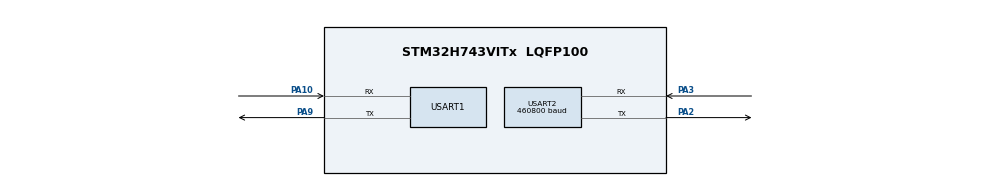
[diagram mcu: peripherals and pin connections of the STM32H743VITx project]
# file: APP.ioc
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CORTEX_M7.CPU_DCache=Enabled
CORTEX_M7.CPU_ICache=Enabled
FREERTOS.Tasks01=defaultTask,24,512,StartDefaultTask,Default,NULL,Dynamic,NULL,NULL
FREERTOS.configCHECK_FOR_STACK_OVERFLOW=2
FREERTOS.configENABLE_FPU=1
FREERTOS.configGENERATE_RUN_TIME_STATS=1
FREERTOS.configTOTAL_HEAP_SIZE=131072
FREERTOS.configUSE_MALLOC_FAILED_HOOK=1
Mcu.Family=STM32H7
Mcu.Name=STM32H743VITx
Mcu.Package=LQFP100
NVIC.PriorityGroup=NVIC_PRIORITYGROUP_4
NVIC.TIM8_UP_TIM13_IRQn=true\:0\:0\:false\:false\:true\:false\:false\:true\:true
NVIC.TimeBase=TIM8_UP_TIM13_IRQn
NVIC.TimeBaseIP=TIM8
PA10.Mode=Asynchronous
PA10.Signal=USART1_RX
PA13\ (JTMS/SWDIO).Mode=Serial_Wire
PA13\ (JTMS/SWDIO).Signal=DEBUG_JTMS-SWDIO
PA14\ (JTCK/SWCLK).Mode=Serial_Wire
PA14\ (JTCK/SWCLK).Signal=DEBUG_JTCK-SWCLK
PA2.Mode=Asynchronous
PA2.Signal=USART2_TX
PA3.Mode=Asynchronous
PA3.Signal=USART2_RX
PA9.Mode=Asynchronous
PA9.Signal=USART1_TX
PC14-OSC32_IN\ (OSC32_IN).Mode=LSE-External-Oscillator
PC14-OSC32_IN\ (OSC32_IN).Signal=RCC_OSC32_IN
PC15-OSC32_OUT\ (OSC32_OUT).Mode=LSE-External-Oscillator
PC15-OSC32_OUT\ (OSC32_OUT).Signal=RCC_OSC32_OUT
PH0-OSC_IN\ (PH0).Mode=HSE-External-Oscillator
PH0-OSC_IN\ (PH0).Signal=RCC_OSC_IN
PH1-OSC_OUT\ (PH1).Mode=HSE-External-Oscillator
PH1-OSC_OUT\ (PH1).Signal=RCC_OSC_OUT
ProjectManager.HeapSize=0x200
ProjectManager.StackSize=0x400
ProjectManager.TargetToolchain=MDK-ARM V5.27
RCC.ADCFreq_Value=50390625
RCC.APB1Freq_Value=100000000
RCC.APB2Freq_Value=100000000
RCC.APB3Freq_Value=100000000
RCC.APB4Freq_Value=100000000
RCC.CortexFreq_Value=400000000
RCC.D1PPRE=RCC_APB3_DIV2
RCC.D2PPRE1=RCC_APB1_DIV2
RCC.D2PPRE2=RCC_APB2_DIV2
RCC.D3PPRE=RCC_APB4_DIV2
RCC.DIVM1=2
RCC.DIVN1=64
RCC.HCLKFreq_Value=200000000
RCC.HPRE=RCC_HCLK_DIV2
RCC.PLLSourceVirtual=RCC_PLLSOURCE_HSE
RCC.SYSCLKFreq_VALUE=400000000
RCC.SYSCLKSource=RCC_SYSCLKSOURCE_PLLCLK
RCC.USBFreq_Value=400000000
USART1.VirtualMode-Asynchronous=VM_ASYNC
USART2.BaudRate=460800
USART2.VirtualMode-Asynchronous=VM_ASYNC
VP_FREERTOS_VS_CMSIS_V2.Mode=CMSIS_V2
VP_MEMORYMAP_VS_MEMORYMAP.Mode=CurAppReg
VP_SYS_VS_tim8.Mode=TIM8
board=custom

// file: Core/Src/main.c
/* USER CODE BEGIN Header */
/**
  ******************************************************************************
  * @file           : main.c
  * @brief          : Main program body
  ******************************************************************************
  * @attention
  *
  * <h2><center>&copy; Copyright (c) 2026 STMicroelectronics.
  * All rights reserved.</center></h2>
  *
  * This software component is licensed by ST under Ultimate Liberty license
  * SLA0044, the "License"; You may not use this file except in compliance with
  * the License. You may obtain a copy of the License at:
  *                             www.st.com/SLA0044
  *
  ******************************************************************************
  */
/* USER CODE END Header */
#include "main.h"
#include "cmsis_os.h"
#include "memorymap.h"
#include "usart.h"
#include "usb_device.h"
#include "gpio.h"

/* USER CODE BEGIN Includes */
#include "solarclean_ota.h"

/* USER CODE END Includes */

void MX_SystemClock_Config(void);
void MX_FREERTOS_Init(void);

int main(void)
{

  /* Enable the CPU Cache */

  /* Enable I-Cache---------------------------------------------------------*/
  SCB_EnableICache();

  /* Enable D-Cache---------------------------------------------------------*/
  SCB_EnableDCache();

  /* MCU Configuration--------------------------------------------------------*/

  /* Reset of all peripherals, Initializes the Flash interface and the Systick. */
  HAL_Init();

  /* Configure the system clock */
  MX_SystemClock_Config();

  /* Initialize all configured peripherals */
  MX_GPIO_Init();
  MX_USART2_UART_Init();
  MX_USART1_UART_Init();
  /* USER CODE BEGIN 2 */
  SolarCleanOta_ConfirmRunningImage();

  /* USER CODE END 2 */

  /* Init scheduler */
  osKernelInitialize();

  /* Call init function for freertos objects (in cmsis_os2.c) */
  MX_FREERTOS_Init();

  /* Start scheduler */
  osKernelStart();

  /* We should never get here as control is now taken by the scheduler */

  /* Infinite loop */
  while (1)
  {

  }
}

void MX_SystemClock_Config(void)
{
  RCC_OscInitTypeDef RCC_OscInitStruct = {0};
  RCC_ClkInitTypeDef RCC_ClkInitStruct = {0};

  /** Supply configuration update enable
  */
  HAL_PWREx_ConfigSupply(PWR_LDO_SUPPLY);

  /** Configure the main internal regulator output voltage
  */
  __HAL_PWR_VOLTAGESCALING_CONFIG(PWR_REGULATOR_VOLTAGE_SCALE1);

  while(!__HAL_PWR_GET_FLAG(PWR_FLAG_VOSRDY)) {}

  /** Initializes the RCC Oscillators according to the specified parameters
  * in the RCC_OscInitTypeDef structure.
  */
  RCC_OscInitStruct.OscillatorType = RCC_OSCILLATORTYPE_HSI48|RCC_OSCILLATORTYPE_HSE;
  RCC_OscInitStruct.HSEState = RCC_HSE_ON;
  RCC_OscInitStruct.HSI48State = RCC_HSI48_ON;
  RCC_OscInitStruct.PLL.PLLState = RCC_PLL_ON;
  RCC_OscInitStruct.PLL.PLLSource = RCC_PLLSOURCE_HSE;
  RCC_OscInitStruct.PLL.PLLM = 5;
  RCC_OscInitStruct.PLL.PLLN = 160;
  RCC_OscInitStruct.PLL.PLLP = 2;
  RCC_OscInitStruct.PLL.PLLQ = 5;
  RCC_OscInitStruct.PLL.PLLR = 2;
  RCC_OscInitStruct.PLL.PLLRGE = RCC_PLL1VCIRANGE_2;
  RCC_OscInitStruct.PLL.PLLVCOSEL = RCC_PLL1VCOWIDE;
  RCC_OscInitStruct.PLL.PLLFRACN = 0;
  if (HAL_RCC_OscConfig(&RCC_OscInitStruct) != HAL_OK)
  {
    Error_Handler();
  }

  /** Initializes the CPU, AHB and APB buses clocks
  */
  RCC_ClkInitStruct.ClockType = RCC_CLOCKTYPE_HCLK|RCC_CLOCKTYPE_SYSCLK
                              |RCC_CLOCKTYPE_PCLK1|RCC_CLOCKTYPE_PCLK2
                              |RCC_CLOCKTYPE_D3PCLK1|RCC_CLOCKTYPE_D1PCLK1;
  RCC_ClkInitStruct.SYSCLKSource = RCC_SYSCLKSOURCE_PLLCLK;
  RCC_ClkInitStruct.SYSCLKDivider = RCC_SYSCLK_DIV1;
  RCC_ClkInitStruct.AHBCLKDivider = RCC_HCLK_DIV2;
  RCC_ClkInitStruct.APB3CLKDivider = RCC_APB3_DIV2;
  RCC_ClkInitStruct.APB1CLKDivider = RCC_APB1_DIV4;
  RCC_ClkInitStruct.APB2CLKDivider = RCC_APB2_DIV4;
  RCC_ClkInitStruct.APB4CLKDivider = RCC_APB4_DIV2;

  if (HAL_RCC_ClockConfig(&RCC_ClkInitStruct, FLASH_LATENCY_2) != HAL_OK)
  {
    Error_Handler();
  }
}

void HAL_TIM_PeriodElapsedCallback(TIM_HandleTypeDef *htim)
{
  if (htim->Instance == TIM8) {
    HAL_IncTick();
  }
}

void Error_Handler(void)
{
  __disable_irq();
  while (1)
  {
  }
}

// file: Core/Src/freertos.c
/* USER CODE BEGIN Header */
/**
 ******************************************************************************
 * File Name          : freertos.c
 * Description        : Code for freertos applications
 ******************************************************************************
 * @attention
 *
 * <h2><center>&copy; Copyright (c) 2026 STMicroelectronics.
 * All rights reserved.</center></h2>
 *
 * This software component is licensed by ST under Ultimate Liberty license
 * SLA0044, the "License"; You may not use this file except in compliance with
 * the License. You may obtain a copy of the License at:
 *                             www.st.com/SLA0044
 *
 ******************************************************************************
 */
/* USER CODE END Header */

#include "FreeRTOS.h"
#include "task.h"
#include "main.h"
#include "cmsis_os.h"

/* USER CODE BEGIN Includes */
#include "application.h"
#include "led.h"
#include "pwm_swing.h"
#include "uart.h"
#include "mqtt_app_config.h"
#include "air780e_power.h"
#include "air780e_mqtt.h"
#include "air780e_ppp.h"
#include "mqtt_task.h"
#include "mqtt_cmd_handler.h"
#include "mqtt_state_publisher.h"
#include "ds800_protocol.h"
#include "serial_ota.h"
#include "usb_device.h"
#include "usbd_cdc_vcp.h"
#include "flash_if.h"
#include "uart.h"
#include <stdint.h>
#include <string.h>
#include <stdio.h>

#include "usart.h"
#include "stm32h7xx_hal_uart.h"

/* USER CODE END Includes */

/* USER CODE BEGIN PD */
/**
 * Skip PSDK aircraft link task（一般保持 0；仅桌面测 MQTT 无飞机时可设 1）。
 * MDK：C/C++ → Preprocessor → SKIP_PSDK_START_TASK=1
 */
#ifndef SKIP_PSDK_START_TASK
#define SKIP_PSDK_START_TASK 0
#endif

/* 1: boot-time B-slot first-sector write test. This erases APPLICATION_STORE_ADDRESS first sector only. */
#ifndef FLASH_B_TEST_ON_BOOT
#define FLASH_B_TEST_ON_BOOT 0
#endif

/* 1: halt after the B-slot test so J-Link can inspect APPLICATION_STORE_ADDRESS immediately. */
#ifndef FLASH_B_TEST_HALT_AFTER
#define FLASH_B_TEST_HALT_AFTER 1
#endif

/* USER CODE END PD */

/* USER CODE BEGIN PM */
#if (MQTT_DEFER_UNTIL_PSDK_READY && SKIP_PSDK_START_TASK)
/* 未启动 PSDK 时无法置位 ready：自动不等待，避免 defaultTask 死等 */
#undef MQTT_DEFER_UNTIL_PSDK_READY
#define MQTT_DEFER_UNTIL_PSDK_READY 0
#endif

/* USER CODE END PM */

/* USER CODE BEGIN Variables */
/* Private constants ---------------------------------------------------------*/
#define BSP_INIT_TASK_STACK_SIZE 512
#define BSP_INIT_TASK_PRIORITY 0
#define USER_START_TASK_STACK_SIZE 2048
#define USER_START_TASK_PRIORITY 0
#define USER_RUN_INDICATE_TASK_STACK_SIZE 256
#define USER_RUN_INDICATE_TASK_PRIORITY 0
#define LED_HEARTBEAT_TASK_STACK_SIZE 256
#define LED_HEARTBEAT_TASK_PRIORITY 0
#define LED_HEARTBEAT_PULSE_MS 80U
#define LED_HEARTBEAT_GAP_MS 120U
#define LED_HEARTBEAT_REST_MS 900U
#define DEFAULT_TASK_STACK_SIZE 4096
#define DEFAULT_TASK_PRIORITY 0
#define PWM_SWING_TASK_STACK_SIZE 512
#define PWM_SWING_TASK_PRIORITY 1
#define DS800_TASK_STACK_SIZE 512
#define DS800_TASK_PRIORITY 1

/* Private values -------------------------------------------------------------*/
#if !SKIP_PSDK_START_TASK
static TaskHandle_t startTask;
#endif
static TaskHandle_t ledHeartbeatTask;
static TaskHandle_t pwmSwingTask;
static TaskHandle_t ds800Task;

#if MQTT_BOOT_HEAP_LOG
static void mqtt_boot_log_heap(const char *stage)
{
  char buf[140];
  int n;
  if (stage == NULL)
    stage = "?";
  n = snprintf(buf, sizeof(buf), "%s [heap] %s free=%lu\r\n", MQTT_LOG_TAG, stage,
               (unsigned long)xPortGetFreeHeapSize());
  if (n > 0 && n < (int)sizeof(buf))
    (void)UART_Write(UART_NUM_1, (uint8_t *)buf, (uint16_t)n);
}
#else
#define mqtt_boot_log_heap(stage) ((void)0)
#endif

/* USER CODE END Variables */
/* Definitions for defaultTask */
TaskHandle_t defaultTaskHandle;

/* USER CODE BEGIN FunctionPrototypes */
static void LedHeartbeat_Task(void *argument);
static void Ds800_Task(void *argument);
static void BoardServices_Init(void);
static void StartPsdkTaskIfEnabled(void);
#if 0
static void SolarCleanMqtt_PrepareModemAndConfig(char *deviceId, size_t deviceIdLen,
                                                 char *lifecycleTopic, size_t lifecycleTopicLen);
static void SolarCleanMqtt_WaitPsdkIfNeeded(void);
static void SolarCleanMqtt_StartLocalServices(const char *deviceId);
static void SolarCleanMqtt_ConnectAndStartPublishers(const char *deviceId, const char *lifecycleTopic);
static void SolarCleanMqtt_StopModem(uint8_t *fourGRunning);
static void SolarCleanMqtt_StartModemIfNeeded(char *deviceId, size_t deviceIdLen,
                                             char *lifecycleTopic, size_t lifecycleTopicLen,
                                             uint8_t *fourGRunning);
static void SolarCleanMqtt_ServiceLoop(char *deviceId, size_t deviceIdLen,
                                       char *lifecycleTopic, size_t lifecycleTopicLen,
                                       uint8_t *fourGRunning);
#endif
static void FlashB_TestOnBootIfEnabled(void);

/* USER CODE END FunctionPrototypes */

void StartDefaultTask(void *argument);

void MX_FREERTOS_Init(void); /* (MISRA C 2004 rule 8.1) */

/* Hook prototypes */
void configureTimerForRunTimeStats(void);
unsigned long getRunTimeCounterValue(void);
void vApplicationStackOverflowHook(xTaskHandle xTask, signed char *pcTaskName);
void vApplicationMallocFailedHook(void);

/* USER CODE BEGIN 1 */
/* Functions needed when configGENERATE_RUN_TIME_STATS is on */
void configureTimerForRunTimeStats(void)
{
  /* 启用DWT (Data Watchpoint and Trace) */
  CoreDebug->DEMCR |= CoreDebug_DEMCR_TRCENA_Msk;

  /* 先禁用CYCCNT（保险） */
  DWT->CTRL &= ~DWT_CTRL_CYCCNTENA_Msk;

  /* 清零计数器 */
  DWT->CYCCNT = 0;

  /* 启用CYCCNT (Cycle Counter) */
  DWT->CTRL |= DWT_CTRL_CYCCNTENA_Msk;
}

unsigned long getRunTimeCounterValue(void)
{
  return DWT->CYCCNT;
}
/* USER CODE END 1 */

/* USER CODE BEGIN 4 */
void vApplicationStackOverflowHook(xTaskHandle xTask, signed char *pcTaskName)
{
  char line[96];
  int n;
  (void)xTask;

  taskDISABLE_INTERRUPTS();
  n = snprintf(line, sizeof(line), "\r\n*** stack overflow task=%s ***\r\n",
               (pcTaskName != NULL) ? (const char *)pcTaskName : "?");
  if (n > 0 && n < (int)sizeof(line))
    (void)HAL_UART_Transmit(&huart1, (uint8_t *)line, (uint16_t)n, 200);

  for (;;)
  {
  }
}
/* USER CODE END 4 */

/* USER CODE BEGIN 5 */
void vApplicationMallocFailedHook(void)
{
  char line[96];
  int n;

  taskDISABLE_INTERRUPTS();
  n = snprintf(line, sizeof(line), "\r\n*** malloc failed free_heap=%lu ***\r\n",
               (unsigned long)xPortGetFreeHeapSize());
  if (n > 0 && n < (int)sizeof(line))
    (void)HAL_UART_Transmit(&huart1, (uint8_t *)line, (uint16_t)n, 200);

  for (;;)
  {
  }
}
/* USER CODE END 5 */

void MX_FREERTOS_Init(void)
{

  /* USER CODE BEGIN RTOS_THREADS */
  /* Create the thread(s) */
  /* creation of defaultTask */
  if (xTaskCreate((TaskFunction_t)StartDefaultTask, "defaultTask", DEFAULT_TASK_STACK_SIZE,
                  NULL, DEFAULT_TASK_PRIORITY, &defaultTaskHandle) != pdPASS) {
    const char *m = "\r\n*** xTaskCreate defaultTask FAILED ***\r\n";
    (void)HAL_UART_Transmit(&huart1, (uint8_t *)m, (uint16_t)strlen(m), 200);
  }

  /* Create LED heartbeat task. Keep it independent from PSDK so MQTT-only tests still show life. */
  if (xTaskCreate((TaskFunction_t)LedHeartbeat_Task, "led_hb", LED_HEARTBEAT_TASK_STACK_SIZE,
                  NULL, LED_HEARTBEAT_TASK_PRIORITY, &ledHeartbeatTask) != pdPASS) {
    const char *m = "\r\n*** xTaskCreate led_hb FAILED ***\r\n";
    (void)HAL_UART_Transmit(&huart1, (uint8_t *)m, (uint16_t)strlen(m), 200);
  }

  /* Create PWM swing task */
  if (xTaskCreate((TaskFunction_t)PwmSwing_Task, "pwm_swing_task", PWM_SWING_TASK_STACK_SIZE,
                  NULL, PWM_SWING_TASK_PRIORITY, (TaskHandle_t *)&pwmSwingTask) != pdPASS) {
    const char *m = "\r\n*** xTaskCreate pwm_swing_task FAILED ***\r\n";
    (void)HAL_UART_Transmit(&huart1, (uint8_t *)m, (uint16_t)strlen(m), 200);
  }

  if (xTaskCreate((TaskFunction_t)Ds800_Task, "ds800_task", DS800_TASK_STACK_SIZE,
                  NULL, DS800_TASK_PRIORITY, (TaskHandle_t *)&ds800Task) != pdPASS) {
    const char *m = "\r\n*** xTaskCreate ds800_task FAILED ***\r\n";
    (void)HAL_UART_Transmit(&huart1, (uint8_t *)m, (uint16_t)strlen(m), 200);
  }
  /* add threads, ... */
  /* USER CODE END RTOS_THREADS */

}

/* USER CODE BEGIN Header_StartDefaultTask */
/**
 * @brief  LED heartbeat thread.
 * @param  argument: Not used
 * @retval None
 */
static void LedHeartbeat_Task(void *argument)
{
  (void)argument;

  Led_Init(LED1);

  for (;;) {
    Led_On(LED1);
    osDelay(LED_HEARTBEAT_PULSE_MS);
    Led_Off(LED1);
    osDelay(LED_HEARTBEAT_GAP_MS);
    Led_On(LED1);
    osDelay(LED_HEARTBEAT_PULSE_MS);
    Led_Off(LED1);
    osDelay(LED_HEARTBEAT_REST_MS);
  }
}

static void Ds800_Task(void *argument)
{
  (void)argument;

  osDelay(500);
  Ds800Protocol_Init();

  for (;;) {
    Ds800Protocol_Service();
    osDelay(20);
  }
}

/**
 * @brief  Initialize board-level services used by this task.
 * @note   Keep hardware bring-up here so MQTT setup code stays focused on network logic.
 */
static void BoardServices_Init(void)
{
  USBD_CDC_VCP_Init();
  MX_USB_DEVICE_Init();
  SerialOta_Init();
  DevCtrl_Init();

  UART_Init(DJI_CONSOLE_UART_NUM, DJI_CONSOLE_UART_BAUD);
#if DS800_ENABLE_PWM_SWITCH_TEST
  /* F-08A temporary PWM switch mode uses PC7/USART6_RX as GPIO EXTI, no SBUS UART needed. */
#elif DS800_ENABLE_UART2_LOOPBACK_TEST
  UART_InitSbus(UART_NUM_2, 0U);
#else
  UART_InitSbus(UART_NUM_6, 1U);
#endif
  UART_Init(UART_NUM_7, MQTT_AIR780E_UART_BAUD);
}

static void StartPsdkTaskIfEnabled(void)
{
#if !SKIP_PSDK_START_TASK && !DS800_ENABLE_UART2_LOOPBACK_TEST
  if (!Ds800Protocol_GetPsdkEnabled()) {
    const char *m = "\r\n[PSDK] disabled by device param, skip start_task\r\n";
    (void)HAL_UART_Transmit(&huart1, (uint8_t *)m, (uint16_t)strlen(m), 200);
    return;
  }
  if (startTask == NULL) {
    if (xTaskCreate((TaskFunction_t)DjiUser_StartTask, "start_task", USER_START_TASK_STACK_SIZE,
                    NULL, USER_START_TASK_PRIORITY, &startTask) != pdPASS) {
      const char *m = "\r\n*** xTaskCreate start_task FAILED ***\r\n";
      (void)HAL_UART_Transmit(&huart1, (uint8_t *)m, (uint16_t)strlen(m), 200);
    }
  }
#endif
}

#if FLASH_B_TEST_ON_BOOT
static void FlashB_TestLog(const char *msg)
{
  if (msg == NULL)
    return;
  UART_Write(UART_NUM_1, (const uint8_t *)msg, (uint16_t)strlen(msg));
}

static void FlashB_TestLogf(const char *fmt, uint32_t a, uint32_t b, uint32_t c, uint32_t d)
{
  char line[160];
  int n = snprintf(line, sizeof(line), fmt,
                   (unsigned long)a, (unsigned long)b,
                   (unsigned long)c, (unsigned long)d);
  if (n > 0 && n < (int)sizeof(line))
    UART_Write(UART_NUM_1, (const uint8_t *)line, (uint16_t)n);
}
#endif

static void FlashB_TestOnBootIfEnabled(void)
{
#if FLASH_B_TEST_ON_BOOT
  static const uint32_t testWords[8] = {
    0x53425431UL, /* "SBT1" */
    APPLICATION_STORE_ADDRESS,
    0x12345678UL,
    0xA5A55A5AUL,
    0x00000001UL,
    0x00000002UL,
    0x00000003UL,
    0x00000004UL,
  };
  uint32_t base = APPLICATION_STORE_ADDRESS;
  uint32_t eraseEnd = APPLICATION_STORE_ADDRESS + FLASH_SECTOR_SIZE - 1U;
  uint32_t w0;
  uint32_t w1;
  uint32_t w2;
  uint32_t w3;

  FlashB_TestLog("\r\n[FLASH_TEST] B slot write test start\r\n");
  FlashB_TestLogf("[FLASH_TEST] erase 0x%08lX-0x%08lX\r\n", base, eraseEnd, 0U, 0U);
  if (FLASH_If_Erase(base, eraseEnd) != FLASHIF_OK) {
    FlashB_TestLog("[FLASH_TEST] erase FAIL\r\n");
    goto done;
  }
  FlashB_TestLog("[FLASH_TEST] erase OK\r\n");

  if (FLASH_If_Write(base, (const uint8_t *)testWords, sizeof(testWords)) != FLASHIF_OK) {
    FlashB_TestLog("[FLASH_TEST] write FAIL\r\n");
    goto done;
  }
  FlashB_TestLog("[FLASH_TEST] write OK\r\n");

  SCB_InvalidateDCache_by_Addr((uint32_t *)base, 32);
  __DSB();
  __ISB();
  w0 = *(volatile uint32_t *)(base + 0U);
  w1 = *(volatile uint32_t *)(base + 4U);
  w2 = *(volatile uint32_t *)(base + 8U);
  w3 = *(volatile uint32_t *)(base + 12U);
  FlashB_TestLogf("[FLASH_TEST] probe 0x%08lX: %08lX %08lX %08lX\r\n", base, w0, w1, w2);
  FlashB_TestLogf("[FLASH_TEST] probe +12: %08lX\r\n", w3, 0U, 0U, 0U);

  if (memcmp((const void *)base, testWords, sizeof(testWords)) == 0)
    FlashB_TestLog("[FLASH_TEST] verify OK\r\n");
  else
    FlashB_TestLog("[FLASH_TEST] verify FAIL\r\n");

done:
#if FLASH_B_TEST_HALT_AFTER
  FlashB_TestLogf("[FLASH_TEST] halted, read with J-Link: mem32 0x%08lX 8\r\n", base, 0U, 0U, 0U);
  for (;;) {
    osDelay(1000U);
  }
#endif
#endif
}

/**
 * @brief  Power on Air780E and prepare MQTT identity/topics.
 * @note   This function only configures local driver state; it does not connect to broker yet.
 */
#if 0
static void SolarCleanMqtt_PrepareModemAndConfig(char *deviceId, size_t deviceIdLen,
                                                 char *lifecycleTopic, size_t lifecycleTopicLen)
{
  Air780ePower_Init();
  Air780ePower_On();
  osDelay(MQTT_POWER_ON_DELAY_MS);
  (void)Air780eMqtt_AtSelfTest(5U, 1000U, 1000U);

  Air780eMqtt_SetBroker(MQTT_BROKER_IP, MQTT_BROKER_PORT);
  Air780eMqtt_SetAuth(MQTT_USERNAME, MQTT_PASSWORD);

  MqttAppConfig_BuildDeviceId(deviceId, deviceIdLen,
                              HAL_GetUIDw0(), HAL_GetUIDw1(), HAL_GetUIDw2());
  {
    char idMsg[96];
    (void)snprintf(idMsg, sizeof(idMsg), "%s deviceId=%s\r\n", MQTT_LOG_TAG, deviceId);
    UART_Write(UART_NUM_1, (uint8_t *)idMsg, (uint16_t)strlen(idMsg));
  }

  Air780eMqtt_SetClientId(deviceId);
  (void)snprintf(lifecycleTopic, lifecycleTopicLen, MQTT_TOPIC_FMT_LIFECYCLE, deviceId);
  Air780eMqtt_SetWill(lifecycleTopic, "offline", 0, 1);

  {
    char topic[MQTT_TOPIC_BUF_LEN];
    (void)snprintf(topic, sizeof(topic), "%s%s", MQTT_TOPIC_PREFIX, deviceId);
    MqttTask_SetTopic(topic);
  }

  mqtt_boot_log_heap("after Air780E cfg (before MQTT tasks)");
}

/**
 * @brief  Optionally wait until PSDK startup is complete before MQTT starts.
 * @note   A timeout keeps 4G/MQTT from being blocked forever when aircraft link is absent.
 */
static void SolarCleanMqtt_WaitPsdkIfNeeded(void)
{
#if MQTT_DEFER_UNTIL_PSDK_READY
  if (!Ds800Protocol_GetPsdkEnabled()) {
    return;
  }
  {
#if MQTT_WAIT_PSDK_LOG_MS > 0U
    char wmsg[160];
#endif
    {
      TickType_t waitStart = xTaskGetTickCount();
#if MQTT_WAIT_PSDK_LOG_MS > 0U
      TickType_t lastLog = 0;
#endif
      for (;;) {
        TickType_t now;
        if (DjiUser_IsApplicationStarted())
          break;
        now = xTaskGetTickCount();
#if MQTT_WAIT_PSDK_TIMEOUT_MS > 0U
        if ((now - waitStart) >= (TickType_t)pdMS_TO_TICKS(MQTT_WAIT_PSDK_TIMEOUT_MS)) {
          char tmsg[128];
          (void)snprintf(tmsg, sizeof(tmsg), "%s PSDK wait timeout, starting MQTT anyway\r\n", MQTT_LOG_TAG);
          UART_Write(UART_NUM_1, (uint8_t *)tmsg, (uint16_t)strlen(tmsg));
          break;
        }
#endif
#if MQTT_WAIT_PSDK_LOG_MS > 0U
        if (MQTT_WAIT_PSDK_LOG_MS > 0U) {
          if (lastLog == 0 || (now - lastLog) >= (TickType_t)pdMS_TO_TICKS(MQTT_WAIT_PSDK_LOG_MS)) {
            lastLog = now;
            (void)snprintf(wmsg, sizeof(wmsg),
                           "%s waiting PSDK tick=%lu free=%lu\r\n", MQTT_LOG_TAG,
                           (unsigned long)now, (unsigned long)xPortGetFreeHeapSize());
            UART_Write(UART_NUM_1, (uint8_t *)wmsg, (uint16_t)strlen(wmsg));
          }
        }
#endif
        osDelay(50);
      }
    }
    mqtt_boot_log_heap("creating MQTT tasks/queues");
  }
#endif
}

/**
 * @brief  Start MCU-side MQTT helpers.
 * @note   Command handling and publish queues are prepared before broker connection.
 */
static void SolarCleanMqtt_StartLocalServices(const char *deviceId)
{
  MqttCmdHandler_Init(deviceId);
  mqtt_boot_log_heap("after MqttCmdHandler_Init");

  MqttTask_Start();
  mqtt_boot_log_heap("after MqttTask_Start");
}

/**
 * @brief  Connect to MQTT broker and publish initial online state.
 */
static void SolarCleanMqtt_ConnectAndStartPublishers(const char *deviceId, const char *lifecycleTopic)
{
  Air780eMqtt_EnableLog(MQTT_DEBUG_AT_MQTT_DRIVER_LOG);
  osDelay(MQTT_STARTUP_DELAY_MS);
  mqtt_boot_log_heap("after MQTT_STARTUP_DELAY");

  if (Air780eMqtt_Connect() == 0) {
    char onlineMsg[64];
    char okMsg[96];
    (void)snprintf(onlineMsg, sizeof(onlineMsg), "{\"v\":1,\"type\":\"online\",\"ts\":%lu}",
                   (unsigned long)osKernelGetTickCount());
    (void)snprintf(okMsg, sizeof(okMsg), "\r\n%s connect OK\r\n", MQTT_LOG_TAG);
    UART_Write(UART_NUM_1, (uint8_t *)okMsg, (uint16_t)strlen(okMsg));

#if MQTT_DEBUG_STARTUP_TEST_PUBLISH
    {
      char mqttTopic[MQTT_TOPIC_BUF_LEN];
      char payload[128];
      char logMsg[192];
      (void)snprintf(mqttTopic, sizeof(mqttTopic), "%s%s", MQTT_TOPIC_PREFIX, deviceId);
      (void)snprintf(payload, sizeof(payload), MQTT_STARTUP_TEST_PAYLOAD_FMT,
                     (unsigned long)osKernelGetTickCount());
      if (Air780eMqtt_Publish(mqttTopic, payload) == 0) {
        (void)snprintf(logMsg, sizeof(logMsg), "%s startup test publish OK topic=%s\r\n", MQTT_LOG_TAG,
                       mqttTopic);
      } else {
        (void)snprintf(logMsg, sizeof(logMsg), "%s startup test publish FAIL err=%d (%s)\r\n",
                       MQTT_LOG_TAG, Air780eMqtt_GetLastError(), Air780eMqtt_GetLastErrorString());
      }
      UART_Write(UART_NUM_1, (uint8_t *)logMsg, (uint16_t)strlen(logMsg));
    }
#endif

    mqtt_boot_log_heap("after Air780eMqtt_Connect OK");
    MqttCmdHandler_OnTcpConnected();
    (void)Air780eMqtt_PublishRetain(lifecycleTopic, onlineMsg, 1);
    MqttStatePublisher_Start(deviceId);
    mqtt_boot_log_heap("after MqttStatePublisher_Start");
  } else {
    char fail[160];
    (void)snprintf(fail, sizeof(fail), "%s startup connect FAIL err=%d connack_rc=%d (%s)\r\n",
                   MQTT_LOG_TAG, Air780eMqtt_GetLastError(), Air780eMqtt_GetLastConnackRc(),
                   Air780eMqtt_GetLastErrorString());
    UART_Write(UART_NUM_1, (uint8_t *)fail, (uint16_t)strlen(fail));
  }

  {
    const char *banner = "\r\n=== MQTT ready ===\r\n";
    UART_Write(UART_NUM_1, (uint8_t *)banner, (uint16_t)strlen(banner));
  }
}

static void SolarCleanMqtt_StopModem(uint8_t *fourGRunning)
{
  if (fourGRunning != NULL && *fourGRunning) {
    const char *m = "\r\n[MQTT] 4G disabled, disconnect and power off AIR780E\r\n";
    UART_Write(UART_NUM_1, (uint8_t *)m, (uint16_t)strlen(m));
    Air780eMqtt_Disconnect();
    Air780ePower_Off();
    *fourGRunning = 0U;
  }
}

static void SolarCleanMqtt_StartModemIfNeeded(char *deviceId, size_t deviceIdLen,
                                             char *lifecycleTopic, size_t lifecycleTopicLen,
                                             uint8_t *fourGRunning)
{
  if (fourGRunning != NULL && *fourGRunning) {
    return;
  }

  SolarCleanMqtt_PrepareModemAndConfig(deviceId, deviceIdLen, lifecycleTopic, lifecycleTopicLen);
  SolarCleanMqtt_WaitPsdkIfNeeded();
  SolarCleanMqtt_StartLocalServices(deviceId);
  SolarCleanMqtt_ConnectAndStartPublishers(deviceId, lifecycleTopic);
  if (fourGRunning != NULL) {
    *fourGRunning = 1U;
  }
}

/**
 * @brief  Periodic MQTT maintenance loop.
 * @note   Keep this small; long operations should live in their own module/task.
 */
static void SolarCleanMqtt_ServiceLoop(char *deviceId, size_t deviceIdLen,
                                       char *lifecycleTopic, size_t lifecycleTopicLen,
                                       uint8_t *fourGRunning)
{
  uint32_t hbCnt = 0;

  for (;;) {
    if (!Ds800Protocol_GetFourGEnabled()) {
      SolarCleanMqtt_StopModem(fourGRunning);
      osDelay(1000U);
      continue;
    }

    SolarCleanMqtt_StartModemIfNeeded(deviceId, deviceIdLen, lifecycleTopic, lifecycleTopicLen, fourGRunning);

    Air780eMqtt_Service();
    hbCnt++;
    if (((hbCnt % (uint32_t)MQTT_PINGREQ_PERIOD_S) == 0U) && Air780eMqtt_IsTcpConnected()) {
      Air780eMqtt_Pingreq();
    }
#if (MQTT_HEARTBEAT_LOG_S > 0U)
    if ((hbCnt % (uint32_t)MQTT_HEARTBEAT_LOG_S) == 0U) {
      char hbMsg[224];
      (void)snprintf(hbMsg, sizeof(hbMsg),
                     "%s tcp=%d err=%d (%s) uart7_line_err=%lu srv_miss=%lu\r\n",
                     MQTT_LOG_TAG,
                     Air780eMqtt_IsTcpConnected() ? 1 : 0,
                     Air780eMqtt_GetLastError(),
                     Air780eMqtt_GetLastErrorString(),
                     (unsigned long)UART_GetUart7LineErrorClears(),
                     (unsigned long)Air780eMqtt_GetServiceLockMissCount());
      UART_Write(UART_NUM_1, (uint8_t *)hbMsg, (uint16_t)strlen(hbMsg));
    }
#endif

    osDelay(MQTT_DEFAULT_TASK_DELAY_MS);
  }
}
#endif

/**
 * @brief  Function implementing the defaultTask thread.
 * @param  argument: Not used
 * @retval None
 */
/* USER CODE END Header_StartDefaultTask */
void StartDefaultTask(void *argument)
{
  /* USER CODE BEGIN StartDefaultTask */
  (void)argument;

  BoardServices_Init();
  if (SerialOta_WaitEnterWindow(SERIAL_OTA_ENTER_WINDOW_MS)) {
    SerialOta_ServiceLoop();
  }
  StartPsdkTaskIfEnabled();
  FlashB_TestOnBootIfEnabled();
  Air780ePpp_Run();
  /* USER CODE END StartDefaultTask */
}
